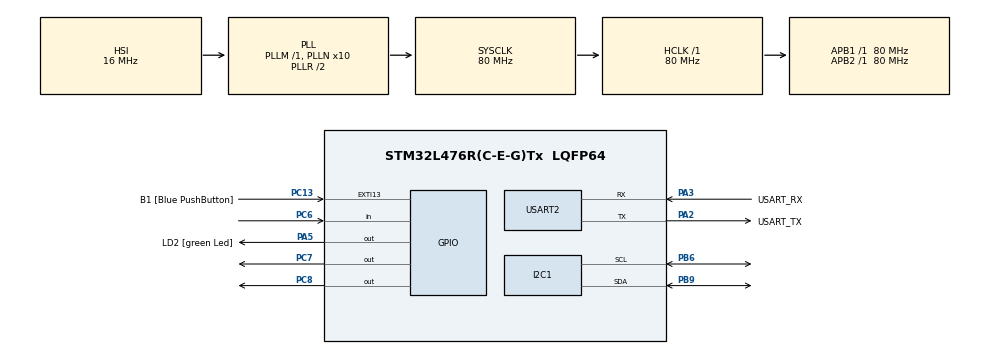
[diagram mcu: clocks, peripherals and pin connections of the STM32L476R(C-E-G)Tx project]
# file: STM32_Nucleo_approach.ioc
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I2C1.Timing=0x10909CEC
Mcu.Family=STM32L4
Mcu.Name=STM32L476R(C-E-G)Tx
Mcu.Package=LQFP64
NVIC.PriorityGroup=NVIC_PRIORITYGROUP_4
PA13\ (JTMS-SWDIO).GPIO_Label=TMS
PA13\ (JTMS-SWDIO).Mode=Serial_Wire
PA13\ (JTMS-SWDIO).Signal=SYS_JTMS-SWDIO
PA14\ (JTCK-SWCLK).GPIO_Label=TCK
PA14\ (JTCK-SWCLK).Mode=Serial_Wire
PA14\ (JTCK-SWCLK).Signal=SYS_JTCK-SWCLK
PA2.GPIO_Label=USART_TX
PA2.GPIO_Mode=GPIO_MODE_AF_PP
PA2.GPIO_PuPd=GPIO_NOPULL
PA2.GPIO_Speed=GPIO_SPEED_FREQ_VERY_HIGH
PA2.Mode=Asynchronous
PA2.Signal=USART2_TX
PA3.GPIO_Label=USART_RX
PA3.GPIO_Mode=GPIO_MODE_AF_PP
PA3.GPIO_PuPd=GPIO_NOPULL
PA3.GPIO_Speed=GPIO_SPEED_FREQ_VERY_HIGH
PA3.Mode=Asynchronous
PA3.Signal=USART2_RX
PA5.GPIO_Label=LD2 [green Led]
PA5.GPIO_ModeDefaultOutputPP=GPIO_MODE_OUTPUT_PP
PA5.GPIO_PuPd=GPIO_NOPULL
PA5.GPIO_Speed=GPIO_SPEED_FREQ_LOW
PA5.Signal=GPIO_Output
PB3\ (JTDO-TRACESWO).GPIO_Label=SWO
PB3\ (JTDO-TRACESWO).Signal=SYS_JTDO-SWO
PB6.Mode=I2C
PB6.Signal=I2C1_SCL
PB9.Mode=I2C
PB9.Signal=I2C1_SDA
PC13.GPIO_Label=B1 [Blue PushButton]
PC13.GPIO_ModeDefaultEXTI=GPIO_MODE_IT_FALLING
PC13.GPIO_PuPd=GPIO_NOPULL
PC13.Signal=GPXTI13
PC14-OSC32_IN\ (PC14).Mode=LSE-External-Oscillator
PC14-OSC32_IN\ (PC14).Signal=RCC_OSC32_IN
PC15-OSC32_OUT\ (PC15).Mode=LSE-External-Oscillator
PC15-OSC32_OUT\ (PC15).Signal=RCC_OSC32_OUT
PC6.Signal=GPIO_Input
PC7.Signal=GPIO_Output
PC8.Signal=GPIO_Output
PH0-OSC_IN\ (PH0).Signal=RCC_OSC_IN
PH1-OSC_OUT\ (PH1).Signal=RCC_OSC_OUT
ProjectManager.HeapSize=0x200
ProjectManager.StackSize=0x400
ProjectManager.TargetToolchain=STM32CubeIDE
RCC.ADCFreq_Value=64000000
RCC.AHBFreq_Value=80000000
RCC.APB1Freq_Value=80000000
RCC.APB1TimFreq_Value=80000000
RCC.APB2Freq_Value=80000000
RCC.APB2TimFreq_Value=80000000
RCC.CortexFreq_Value=80000000
RCC.HCLKFreq_Value=80000000
RCC.HSE_VALUE=8000000
RCC.HSI_VALUE=16000000
RCC.MSI_VALUE=4000000
RCC.PLLN=10
RCC.PLLSourceVirtual=RCC_PLLSOURCE_HSI
RCC.PREFETCH_ENABLE=1
RCC.SYSCLKFreq_VALUE=80000000
RCC.SYSCLKSource=RCC_SYSCLKSOURCE_PLLCLK
RCC.USBFreq_Value=64000000
RCC.VCOOutputFreq_Value=160000000
USART2.VirtualMode-Asynchronous=VM_ASYNC
board=NUCLEO-L476RG

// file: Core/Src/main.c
/* USER CODE BEGIN Header */
/**
  ******************************************************************************
  * @file           : main.c
  * @brief          : Main program body
  ******************************************************************************
  * @attention
  *
  * <h2><center>&copy; Copyright (c) 2025 STMicroelectronics.
  * All rights reserved.</center></h2>
  *
  * This software component is licensed by ST under BSD 3-Clause license,
  * the "License"; You may not use this file except in compliance with the
  * License. You may obtain a copy of the License at:
  *                        opensource.org/licenses/BSD-3-Clause
  *
  ******************************************************************************
  */
/* USER CODE END Header */
#include "main.h"
#include "lcd-i2c.h"
int count=0;

I2C_HandleTypeDef hi2c1;

UART_HandleTypeDef huart2;

void SystemClock_Config(void);
static void MX_GPIO_Init(void);
static void MX_USART2_UART_Init(void);
static void MX_I2C1_Init(void);

int main(void)
{

  /* MCU Configuration--------------------------------------------------------*/

  /* Reset of all peripherals, Initializes the Flash interface and the Systick. */
  HAL_Init();

  /* Configure the system clock */
  SystemClock_Config();

  /* Initialize all configured peripherals */
  MX_GPIO_Init();
  MX_USART2_UART_Init();
  MX_I2C1_Init();
  /* USER CODE BEGIN 2 */
  lcd16x2_i2c_init(&hi2c1);
    lcd16x2_i2c_printf("detecting Car...");
     HAL_Delay(2500);
     lcd16x2_i2c_clear();
     lcd16x2_i2c_printf("Car detected:");
     lcd16x2_i2c_setCursor(1,0);

      lcd16x2_i2c_printf("%d ",count);
  /* USER CODE END 2 */

  /* Infinite loop */
  while (1)
  {

    /* USER CODE BEGIN 3 */
	  if (HAL_GPIO_ReadPin(GPIOC, GPIO_PIN_6) == GPIO_PIN_SET)
		      {
		        // Object detected
		        count++;

		        // Update LCD with new count
		        lcd16x2_i2c_clear();
		        lcd16x2_i2c_printf("Car detected:");
		        lcd16x2_i2c_setCursor(1,0);
		        lcd16x2_i2c_printf("%d", count);

		        // Turn ON LED and Buzzer
		        HAL_GPIO_WritePin(GPIOC, GPIO_PIN_7, GPIO_PIN_SET);
		        HAL_GPIO_WritePin(GPIOC, GPIO_PIN_8, GPIO_PIN_SET);

		        HAL_Delay(500); // Hold alert and debounce
		      }
		      else
		      {
		        // No object -> turn OFF LED and Buzzer
		        HAL_GPIO_WritePin(GPIOC, GPIO_PIN_7, GPIO_PIN_RESET);
		        HAL_GPIO_WritePin(GPIOC, GPIO_PIN_8, GPIO_PIN_RESET);
		      }
  /* USER CODE END 3 */
}
}

void SystemClock_Config(void)
{
  RCC_OscInitTypeDef RCC_OscInitStruct = {0};
  RCC_ClkInitTypeDef RCC_ClkInitStruct = {0};
  RCC_PeriphCLKInitTypeDef PeriphClkInit = {0};

  /** Initializes the RCC Oscillators according to the specified parameters
  * in the RCC_OscInitTypeDef structure.
  */
  RCC_OscInitStruct.OscillatorType = RCC_OSCILLATORTYPE_HSI;
  RCC_OscInitStruct.HSIState = RCC_HSI_ON;
  RCC_OscInitStruct.HSICalibrationValue = RCC_HSICALIBRATION_DEFAULT;
  RCC_OscInitStruct.PLL.PLLState = RCC_PLL_ON;
  RCC_OscInitStruct.PLL.PLLSource = RCC_PLLSOURCE_HSI;
  RCC_OscInitStruct.PLL.PLLM = 1;
  RCC_OscInitStruct.PLL.PLLN = 10;
  RCC_OscInitStruct.PLL.PLLP = RCC_PLLP_DIV7;
  RCC_OscInitStruct.PLL.PLLQ = RCC_PLLQ_DIV2;
  RCC_OscInitStruct.PLL.PLLR = RCC_PLLR_DIV2;
  if (HAL_RCC_OscConfig(&RCC_OscInitStruct) != HAL_OK)
  {
    Error_Handler();
  }
  /** Initializes the CPU, AHB and APB buses clocks
  */
  RCC_ClkInitStruct.ClockType = RCC_CLOCKTYPE_HCLK|RCC_CLOCKTYPE_SYSCLK
                              |RCC_CLOCKTYPE_PCLK1|RCC_CLOCKTYPE_PCLK2;
  RCC_ClkInitStruct.SYSCLKSource = RCC_SYSCLKSOURCE_PLLCLK;
  RCC_ClkInitStruct.AHBCLKDivider = RCC_SYSCLK_DIV1;
  RCC_ClkInitStruct.APB1CLKDivider = RCC_HCLK_DIV1;
  RCC_ClkInitStruct.APB2CLKDivider = RCC_HCLK_DIV1;

  if (HAL_RCC_ClockConfig(&RCC_ClkInitStruct, FLASH_LATENCY_4) != HAL_OK)
  {
    Error_Handler();
  }
  PeriphClkInit.PeriphClockSelection = RCC_PERIPHCLK_USART2|RCC_PERIPHCLK_I2C1;
  PeriphClkInit.Usart2ClockSelection = RCC_USART2CLKSOURCE_PCLK1;
  PeriphClkInit.I2c1ClockSelection = RCC_I2C1CLKSOURCE_PCLK1;
  if (HAL_RCCEx_PeriphCLKConfig(&PeriphClkInit) != HAL_OK)
  {
    Error_Handler();
  }
  /** Configure the main internal regulator output voltage
  */
  if (HAL_PWREx_ControlVoltageScaling(PWR_REGULATOR_VOLTAGE_SCALE1) != HAL_OK)
  {
    Error_Handler();
  }
}

static void MX_I2C1_Init(void)
{

  hi2c1.Instance = I2C1;
  hi2c1.Init.Timing = 0x10909CEC;
  hi2c1.Init.OwnAddress1 = 0;
  hi2c1.Init.AddressingMode = I2C_ADDRESSINGMODE_7BIT;
  hi2c1.Init.DualAddressMode = I2C_DUALADDRESS_DISABLE;
  hi2c1.Init.OwnAddress2 = 0;
  hi2c1.Init.OwnAddress2Masks = I2C_OA2_NOMASK;
  hi2c1.Init.GeneralCallMode = I2C_GENERALCALL_DISABLE;
  hi2c1.Init.NoStretchMode = I2C_NOSTRETCH_DISABLE;
  if (HAL_I2C_Init(&hi2c1) != HAL_OK)
  {
    Error_Handler();
  }
  /** Configure Analogue filter
  */
  if (HAL_I2CEx_ConfigAnalogFilter(&hi2c1, I2C_ANALOGFILTER_ENABLE) != HAL_OK)
  {
    Error_Handler();
  }
  /** Configure Digital filter
  */
  if (HAL_I2CEx_ConfigDigitalFilter(&hi2c1, 0) != HAL_OK)
  {
    Error_Handler();
  }

}

static void MX_USART2_UART_Init(void)
{

  huart2.Instance = USART2;
  huart2.Init.BaudRate = 115200;
  huart2.Init.WordLength = UART_WORDLENGTH_8B;
  huart2.Init.StopBits = UART_STOPBITS_1;
  huart2.Init.Parity = UART_PARITY_NONE;
  huart2.Init.Mode = UART_MODE_TX_RX;
  huart2.Init.HwFlowCtl = UART_HWCONTROL_NONE;
  huart2.Init.OverSampling = UART_OVERSAMPLING_16;
  huart2.Init.OneBitSampling = UART_ONE_BIT_SAMPLE_DISABLE;
  huart2.AdvancedInit.AdvFeatureInit = UART_ADVFEATURE_NO_INIT;
  if (HAL_UART_Init(&huart2) != HAL_OK)
  {
    Error_Handler();
  }

}

static void MX_GPIO_Init(void)
{
  GPIO_InitTypeDef GPIO_InitStruct = {0};

  /* GPIO Ports Clock Enable */
  __HAL_RCC_GPIOC_CLK_ENABLE();
  __HAL_RCC_GPIOH_CLK_ENABLE();
  __HAL_RCC_GPIOA_CLK_ENABLE();
  __HAL_RCC_GPIOB_CLK_ENABLE();

  /*Configure GPIO pin Output Level */
  HAL_GPIO_WritePin(LD2_GPIO_Port, LD2_Pin, GPIO_PIN_RESET);

  /*Configure GPIO pin Output Level */
  HAL_GPIO_WritePin(GPIOC, GPIO_PIN_7|GPIO_PIN_8, GPIO_PIN_RESET);

  /*Configure GPIO pin : B1_Pin */
  GPIO_InitStruct.Pin = B1_Pin;
  GPIO_InitStruct.Mode = GPIO_MODE_IT_FALLING;
  GPIO_InitStruct.Pull = GPIO_NOPULL;
  HAL_GPIO_Init(B1_GPIO_Port, &GPIO_InitStruct);

  /*Configure GPIO pin : LD2_Pin */
  GPIO_InitStruct.Pin = LD2_Pin;
  GPIO_InitStruct.Mode = GPIO_MODE_OUTPUT_PP;
  GPIO_InitStruct.Pull = GPIO_NOPULL;
  GPIO_InitStruct.Speed = GPIO_SPEED_FREQ_LOW;
  HAL_GPIO_Init(LD2_GPIO_Port, &GPIO_InitStruct);

  /*Configure GPIO pin : PC6 */
  GPIO_InitStruct.Pin = GPIO_PIN_6;
  GPIO_InitStruct.Mode = GPIO_MODE_INPUT;
  GPIO_InitStruct.Pull = GPIO_NOPULL;
  HAL_GPIO_Init(GPIOC, &GPIO_InitStruct);

  /*Configure GPIO pins : PC7 PC8 */
  GPIO_InitStruct.Pin = GPIO_PIN_7|GPIO_PIN_8;
  GPIO_InitStruct.Mode = GPIO_MODE_OUTPUT_PP;
  GPIO_InitStruct.Pull = GPIO_NOPULL;
  GPIO_InitStruct.Speed = GPIO_SPEED_FREQ_LOW;
  HAL_GPIO_Init(GPIOC, &GPIO_InitStruct);

}

void Error_Handler(void)
{
  __disable_irq();
  while (1)
  {
  }
}

/************************ (C) COPYRIGHT STMicroelectronics *****END OF FILE****/
